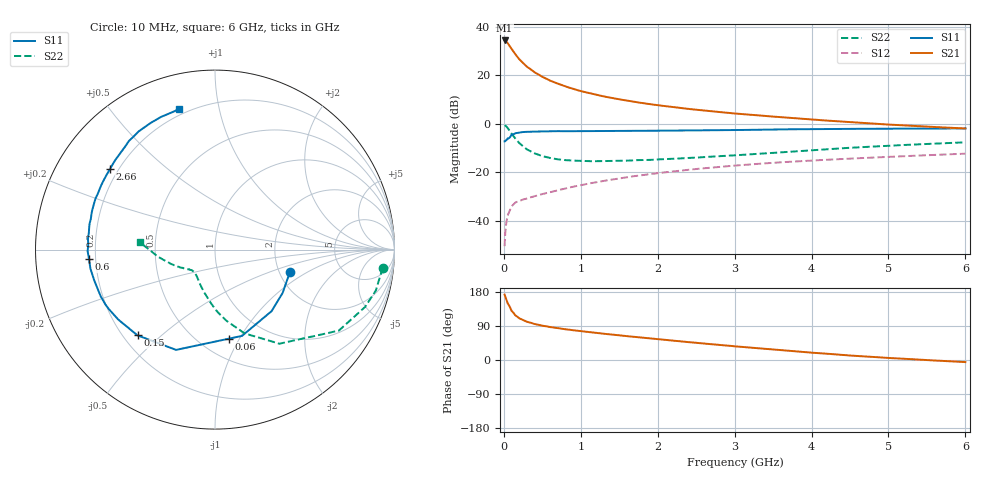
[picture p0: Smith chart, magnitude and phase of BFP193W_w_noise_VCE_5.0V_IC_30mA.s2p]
! Infineon Technologies  Discrete & RF Semiconductors
! BFP193W
! VCE = 5.0 V,  IC =  30 mA
! Common Emitter S-Parameters:  Jan 2016
# GHz  S  MA  R  50
!  f  S11  S21  S12  S22
! GHz  MAG  ANG  MAG  ANG  MAG  ANG  MAG  ANG
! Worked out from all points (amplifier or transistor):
!   210 points, 10 MHz to 6 GHz, reference 50 ohm
!   highest |S21| = 34.5 dB at 10 MHz (marker M1)
!   |S21| within 3 dB of that: start of sweep to 89.59 MHz
!   unconditionally stable (mu >= 1): 808.8 MHz to 3.973 GHz
!   at 185 MHz: K = 0.42, MSG = 29.7 dB, |S12| = -32.0 dB
!   at 1.52 GHz: K = 1.11, MAG = 14.2 dB, |S12| = -22.3 dB
!   at 6 GHz: K = 0.93, MSG = 5.2 dB, |S12| = -12.3 dB
!   lowest NFmin = 1.90 dB at 450 MHz
!   S11 on the Smith chart (normalised r, x): 10 MHz: 2.29, -0.70; 60 MHz: 0.68, -0.90; 150 MHz: 0.26, -0.42; 600 MHz: 0.17, -0.04; 2.66 GHz: 0.17, +0.33; 6 GHz: 0.17, +0.76
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0.01  0.4357 -16.4  52.8 172.4  0.003 88.8  0.9398 -6.2
0.02  0.4476 -32.7  52.03 166.8  0.006 77.1  0.9246 -14.3
0.03  0.4658 -47.4  50.69 160.8  0.0085 75.5  0.8953 -20.9
0.04  0.4731 -60.5  48.36 155.4  0.0107 69.6  0.8549 -26.8
0.05  0.5037 -72.6  46.49 149.6  0.0129 65.7  0.8244 -33.2
0.06  0.5022 -81.2  43.95 146.5  0.0142 61.7  0.7785 -36.8
0.1  0.5993 -111.2  35.52 129.9  0.0198 51.1  0.6354 -55.6
0.15  0.644 -132.1  27.3 117.6  0.0239 44.6  0.4955 -70.5
0.2  0.6651 -144.1  21.66 110.1  0.0256 42.7  0.4036 -80.6
0.24  0.6776 -150.6  18.68 106.0  0.0272 41.7  0.3554 -86.6
0.3  0.6878 -157.7  15.15 100.9  0.0289 42.1  0.2983 -94.5
0.4  0.6946 -165.8  11.61 94.9  0.0322 44.3  0.2469 -103.9
0.6  0.7038 -175.7  7.843 87.0  0.0387 49.3  0.1985 -117.0
0.8  0.7067 177.7  5.934 81.1  0.0464 52.9  0.179 -124.8
1.02  0.7092 172.2  4.678 75.8  0.0551 55.4  0.1722 -131.1
1.4  0.7159 164.4  3.439 67.1  0.0709 57.5  0.1722 -137.4
2.02  0.7251 153.0  2.413 54.5  0.0972 56.7  0.1857 -143.6
2.66  0.7379 142.5  1.851 42.4  0.1239 53.6  0.2092 -150.9
3.1  0.7507 135.7  1.595 34.5  0.1419 50.7  0.2304 -156.0
4.1  0.7847 121.7  1.202 18.0  0.1789 43.9  0.2923 -168.7
5.1  0.7982 111.4  0.951 4.4  0.2124 37.3  0.3612 -179.3
6  0.8082 104.2  0.806 -5.5  0.2434 32.0  0.417 174.5
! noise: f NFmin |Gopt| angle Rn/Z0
0.45  1.9  0.4  180  0.09
0.9  1.95  0.43  -173  0.11
1.8  2.4  0.58  -144  0.24
